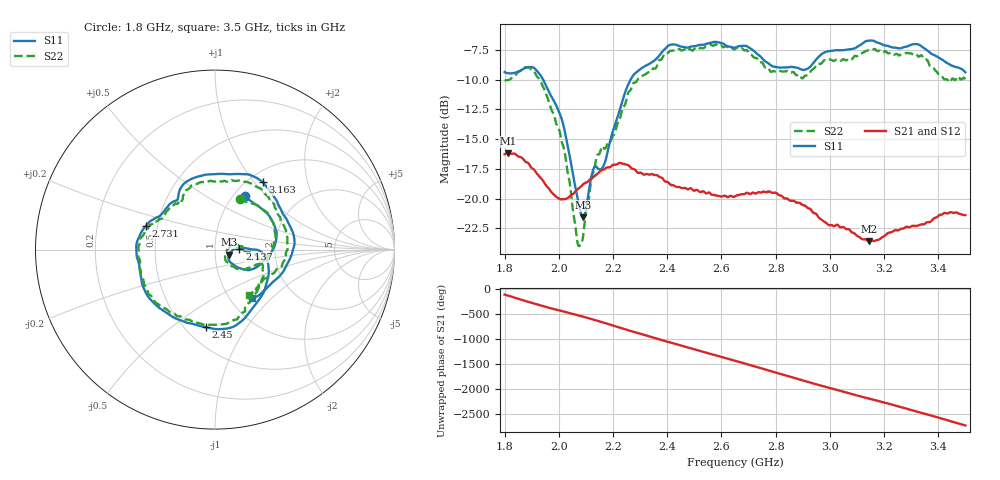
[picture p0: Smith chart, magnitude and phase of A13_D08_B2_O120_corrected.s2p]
! Created with skrf 1.9.0 (http://scikit-rf.org).
# Hz S RI R 50.0
!freq ReS11 ImS11 ReS21 ImS21 ReS12 ImS12 ReS22 ImS22
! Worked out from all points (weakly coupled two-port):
!   1601 points, 1.8 GHz to 3.5 GHz, reference 50 ohm
!   highest |S21| = -16.18 dB at 1.812 GHz (marker M1); lowest = -23.6 dB at 3.144 GHz (marker M2)
!   lowest |S11| = -21.6 dB at 2.09 GHz (marker M3), VSWR 1.18, Z = 58.4 - j3.41 ohm
!   |S11| at or under -10 dB: 1.942 GHz to 2.265 GHz (322.6 MHz wide, 15.3 % of centre)
!   |S22| runs from -24.0 to -7.0 dB; largest |S21 - S12| = 0.0032
!   S11 on the Smith chart (normalised r, x): 1.8 GHz: 1.12, +0.76; 2.137 GHz: 1.32, +0.01; 2.45 GHz: 0.63, -0.67; 2.731 GHz: 0.43, +0.14; 3.163 GHz: 1.16, +1.10; 3.5 GHz: 1.27, -0.77
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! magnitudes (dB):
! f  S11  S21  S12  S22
! 1.8 GHz  -9.4  -16.3  -16.3  -10.0
! 1.812 GHz  -9.5  -16.2  -16.2  -10.0
! 1.886 GHz  -8.9  -17.0  -17.0  -9.0
! 1.94 GHz  -9.9  -18.4  -18.4  -10.5
! 2.013 GHz  -13.5  -20.0  -20.1  -15.4
! 2.068 GHz  -19.8  -19.2  -19.2  -23.5
! 2.084 GHz  -21.4  -18.9  -18.9  -23.7
! 2.09 GHz  -21.6  -18.8  -18.8  -23.1
! 2.137 GHz  -17.3  -18.0  -18.0  -16.7
! 2.167 GHz  -17.1  -17.6  -17.5  -15.8
! 2.266 GHz  -9.9  -17.4  -17.4  -10.8
! 2.367 GHz  -8.1  -18.1  -18.1  -8.5
! 2.45 GHz  -7.2  -19.1  -19.1  -7.5
! 2.65 GHz  -7.3  -19.8  -19.8  -7.4
! 2.731 GHz  -7.8  -19.5  -19.6  -8.2
! 2.934 GHz  -8.8  -21.0  -21.0  -9.2
! 3.144 GHz  -6.7  -23.6  -23.5  -7.5
! 3.163 GHz  -6.7  -23.6  -23.5  -7.4
! 3.217 GHz  -7.2  -22.9  -22.8  -7.8
! 3.326 GHz  -7.0  -22.3  -22.2  -8.0
! 3.435 GHz  -8.6  -21.2  -21.2  -10.0
! 3.5 GHz  -9.4  -21.4  -21.4  -10.0
